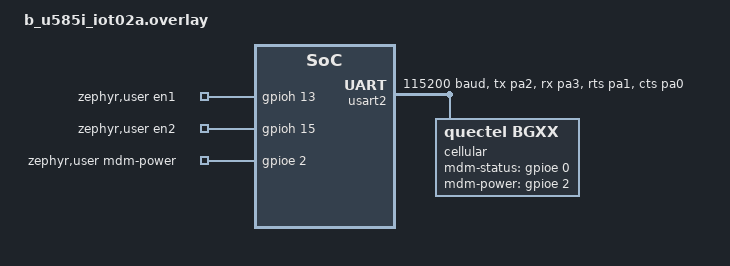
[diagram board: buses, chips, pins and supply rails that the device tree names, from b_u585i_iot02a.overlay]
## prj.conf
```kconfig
# Copyright (c) 2023 Trackunit Corporation
# SPDX-License-Identifier: Apache-2.0

CONFIG_NETWORKING=y
CONFIG_MODEM_MODULES=y
CONFIG_MODEM_CHAT=y
CONFIG_MODEM_CMUX=y
CONFIG_MODEM_PPP=y
CONFIG_NET_L2_PPP=y

CONFIG_MODEM=y
CONFIG_QUECTEL_BGXX=y

# PM
CONFIG_PM=y
CONFIG_PM_DEVICE=y
CONFIG_PM_DEVICE_RUNTIME=y
```

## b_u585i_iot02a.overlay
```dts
/ {
    aliases {
        modem-uart = &cellular;
    };

    zephyr,user {
        en1-gpios = <&gpioh 13 GPIO_ACTIVE_HIGH>;
        en2-gpios = <&gpioh 15 GPIO_ACTIVE_HIGH>;
        mdm-power-gpios = <&gpioe 2 GPIO_ACTIVE_HIGH>;
    };
};

/* BG95 */
&usart2 {
    pinctrl-0 = <&usart2_tx_pa2 &usart2_rx_pa3 &usart2_rts_pa1 &usart2_cts_pa0>;
    pinctrl-names = "default";
    current-speed = <115200>;
    status = "okay";
    hw-flow-control;

	cellular: cellular {
		compatible = "quectel,bgxx";
		status = "okay";

        /* doam */
		mdm-status-gpios = <&gpioe 0 GPIO_ACTIVE_HIGH>;
        mdm-power-gpios = <&gpioe 2 GPIO_ACTIVE_HIGH>; //line connected to pwrkey transisor base (there is open drain on evalboard)
        /* TU700 */
        /*
        mdm-enable-gpios = <&gpioh 11 GPIO_ACTIVE_HIGH>;
		mdm-power-gpios = <&gpiog 2 GPIO_ACTIVE_HIGH>;
		mdm-status-gpios = <&gpioh 12 GPIO_ACTIVE_HIGH>;
		mdm-pon-trig-gpios = <&gpiod 12 GPIO_ACTIVE_HIGH>;
		mdm-dtr-gpios = <&gpiog 4 GPIO_ACTIVE_HIGH>;
		mdm-sw-v1-gpios = <&gpioh 14 GPIO_ACTIVE_HIGH>;
		mdm-sw-v2-gpios = <&gpioh 15 GPIO_ACTIVE_HIGH>;
        */
    };    
};
```

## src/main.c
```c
/*
 * Copyright (c) 2022 Trackunit Corporation
 *
 * SPDX-License-Identifier: Apache-2.0
 */

#include <zephyr/kernel.h>
#include <zephyr/modem/modem_chat.h>
#include <zephyr/modem/modem_cmux.h>
#include <zephyr/modem/modem_pipe.h>
#include <zephyr/modem/modem_ppp.h>

void main(void) {

  const struct modem_ppp_config ppp_config = {
      .rx_buf = ppp_rx_buf,
      .rx_buf_size = sizeof(ppp_rx_buf),
      .tx_buf = ppp_tx_buf,
      .tx_buf_size = sizeof(ppp_tx_buf),
  };
}
```
